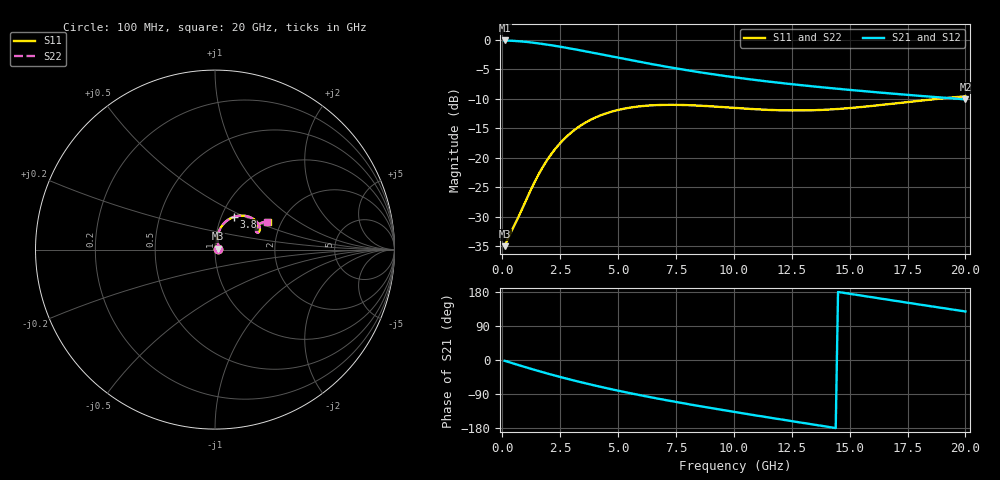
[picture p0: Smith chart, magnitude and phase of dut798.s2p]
! Touchstone file exported from HFSS 2024.1.0
!  File:  C:/UserFiles/LocalFiles/RDL_TSV_Batchsim/temp_RDL_TSV_798_1779909609.aedt
!  Generated:  03:38:37 AM May 28, 2026
!  Design:  RDL_TSV
!  Project:  temp_RDL_TSV_798_1779909609
!  Setup:  Setup1
!  Solution:  Sweep
! Variables:
!  dtsv = 8.81um
!  hbump = 3um
!  htsv = 63.63um
!  ldown = 419.88um
!  lrdl = 581.32um
!  p = 40
!  p1 = 51.83um
!  rhole = 10um
!  subl = 3584.92um
!  t = 450um
!  tdown = 2.36um
!  trdl = 4.58um
!  viad = 10um
!  wdown = 20.56um
!  wrdl = 24.73um
!  xbump = 18um
# GHz S MA R 50.000000
! Terminal data exported
! Port[1] = TM1_1_T1
! Port[2] = TM1_4_T1
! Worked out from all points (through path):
!   200 points, 100 MHz to 20 GHz, reference 50 ohm
!   highest |S21| = -0.15 dB at 100 MHz (marker M1); lowest = -10.1 dB at 20 GHz (marker M2)
!   group delay of S21, straight-line fit = 30.5 ps
!   lowest |S11| = -35.0 dB at 100 MHz (marker M3), VSWR 1.04, Z = 51.8 + j0.461 ohm
!   |S11| at or under -10 dB: start of sweep to 18.9 GHz
!   |S22| runs from -35.0 to -9.6 dB; largest |S21 - S12| = 1.8e-14
!   S11 on the Smith chart (normalised r, x): 100 MHz: 1.04, +0.01; 3.8 GHz: 1.14, +0.43; 20 GHz: 1.70, +0.59
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0.1  0.01786 14.4  0.9824 -2.0  0.9824 -2.0  0.01786 14.4
! Gamma 0 0 0 0
! Port Impedance 50 0 50 0
0.5  0.02631 46.3  0.9743 -9.7  0.9743 -9.7  0.02631 46.3
0.9  0.03849 65.7  0.9608 -17.1  0.9608 -17.1  0.03848 65.6
1.4  0.0625 76.9  0.9372 -26.2  0.9372 -26.2  0.06247 76.9
1.9  0.0932 78.5  0.9083 -34.9  0.9083 -34.9  0.09312 78.4
2.2  0.113 77.0  0.8893 -39.9  0.8893 -39.9  0.1129 77.0
2.6  0.1395 73.7  0.8629 -46.4  0.8629 -46.4  0.1394 73.6
3  0.1648 69.5  0.8357 -52.6  0.8357 -52.6  0.1647 69.4
3.5  0.1935 63.8  0.8013 -60.2  0.8013 -60.2  0.1933 63.8
3.8  0.2088 60.4  0.7809 -64.5  0.7809 -64.5  0.2085 60.4
4.5  0.238 52.7  0.7344 -74.3  0.7344 -74.3  0.2378 52.7
5.3  0.261 44.9  0.6844 -84.8  0.6844 -84.8  0.2607 44.9
6  0.2731 38.9  0.6442 -93.4  0.6442 -93.4  0.2728 38.9
6.8  0.2795 33.3  0.6026 -102.8  0.6026 -102.8  0.2791 33.3
8.4  0.2766 25.4  0.5335 -120.4  0.5335 -120.4  0.2762 25.4
10.1  0.2635 21.8  0.4772 -137.8  0.4772 -137.8  0.263 21.8
11.7  0.2531 22.3  0.4363 -153.6  0.4363 -153.6  0.2526 22.3
13.4  0.2522 25.2  0.4018 -170.0  0.4018 -170.0  0.2517 25.3
15  0.2631 28.2  0.375 174.7  0.375 174.7  0.2627 28.3
16.7  0.2843 29.9  0.3506 158.7  0.3506 158.7  0.2838 29.9
18.4  0.3091 29.5  0.3295 142.8  0.3295 142.8  0.3087 29.6
20  0.3309 27.7  0.312 128.1  0.312 128.1  0.3304 27.8
